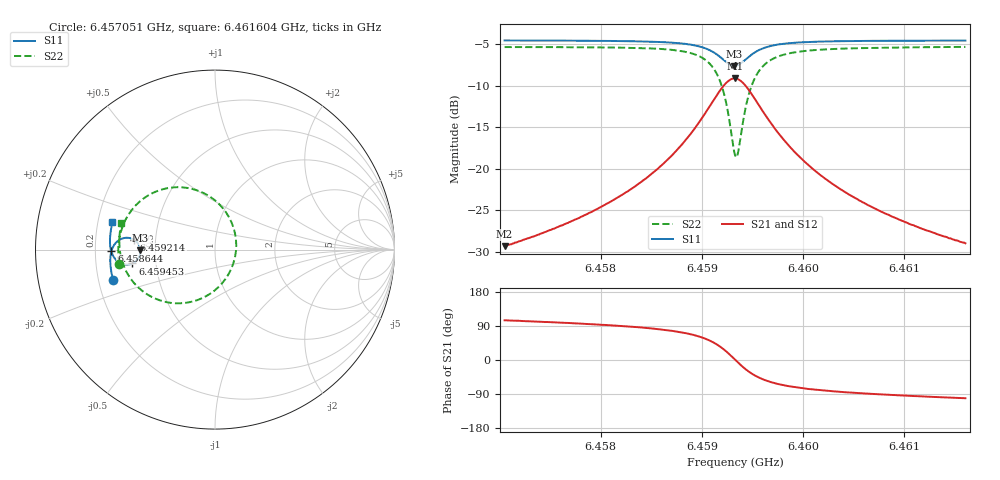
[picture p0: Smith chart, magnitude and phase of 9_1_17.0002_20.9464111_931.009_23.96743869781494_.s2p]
#  HZ  S  RI  R  50.00
! Rohde & Schwarz Vector Network Analyzer
! Rohde-Schwarz,ZNB20-2Port,1311601062101988,3.16
! Created: UTC 3/20/2024, 10:52:24 PM
! freq[Hz]  re:S11  im:S11  re:S21  im:S21  re:S12  im:S12  re:S22  im:S22
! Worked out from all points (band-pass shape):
!   401 points, 6.457051 GHz to 6.461604 GHz, reference 50 ohm
!   highest |S21| = -9.13 dB at 6.459327 GHz (marker M1); lowest = -29.4 dB at 6.457051 GHz (marker M2)
!   |S21| within 3 dB of the highest: 6.459096 GHz to 6.459551 GHz (455 kHz wide, 0.00704 % of centre)
!   lowest |S11| = -7.6 dB at 6.459316 GHz (marker M3), VSWR 2.42, Z = 20.6 - j0.175 ohm
!   |S11| at or under -10 dB: nowhere
!   |S22| runs from -18.6 to -5.3 dB; largest |S21 - S12| = 0.014
!   S11 on the Smith chart (normalised r, x): 6.457051 GHz: 0.26, -0.14; 6.458644 GHz: 0.27, -0.01; 6.459214 GHz: 0.38, +0.05; 6.459453 GHz: 0.37, -0.07; 6.461604 GHz: 0.26, +0.12
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6.4570508e9  -0.5674 -0.1681  -0.00864 0.033  -0.00701 0.0329  -0.5344 -0.0777
6.4578135e9  -0.5809 -0.1011  -0.00525 0.0512  -0.00277 0.0506  -0.5386 0.0124
6.4582461e9  -0.5835 -0.0573  0.00137 0.0717  0.00464 0.0702  -0.529 0.0821
6.4585762e9  -0.5793 -0.0174  0.0154 0.1002  0.0194 0.0973  -0.5027 0.158
6.4586445e9  -0.577 -0.00788  0.0209 0.1087  0.0249 0.1054  -0.4921 0.1782
6.458838e9  -0.5639 0.0227  0.0483 0.1399  0.0525 0.135  -0.4406 0.2478
6.4589859e9  -0.5404 0.049  0.0952 0.1706  0.0984 0.1639  -0.3539 0.3119
6.4591225e9  -0.4951 0.0658  0.1851 0.1858  0.1862 0.1784  -0.1894 0.3474
6.4592136e9  -0.4497 0.0539  0.2763 0.1512  0.277 0.1451  -0.0203 0.2897
6.4592705e9  -0.4246 0.0272  0.328 0.0912  0.3303 0.0855  0.0777 0.1812
6.4593161e9  -0.4156 -0.00351  0.3485 0.0241  0.3522 0.0167  0.1168 0.0559
6.4593274e9  -0.4155 -0.0118  0.3495 0.00621  0.3533 -0.00178  0.1185 0.0221
6.4593616e9  -0.4203 -0.0355  0.3416 -0.0466  0.3453 -0.0567  0.1019 -0.0776
6.4594071e9  -0.4371 -0.0613  0.3107 -0.1056  0.3123 -0.1182  0.039 -0.1883
6.4594526e9  -0.4597 -0.0769  0.2673 -0.145  0.2657 -0.1589  -0.049 -0.2592
6.4595437e9  -0.5032 -0.0827  0.182 -0.1737  0.1753 -0.1852  -0.2183 -0.2991
6.4596917e9  -0.5468 -0.0618  0.0948 -0.1582  0.086 -0.1642  -0.3832 -0.2458
6.459851e9  -0.5682 -0.0341  0.0505 -0.1298  0.0427 -0.1323  -0.4619 -0.1726
6.4600901e9  -0.5808 0.00154  0.0217 -0.0979  0.0159 -0.0984  -0.5087 -0.09
6.4604316e9  -0.5852 0.0424  0.00584 -0.0709  0.00173 -0.0704  -0.5291 -0.0108
6.4608527e9  -0.5831 0.0848  -0.0018 -0.0523  -0.0046 -0.0514  -0.5331 0.0571
6.461604e9  -0.5711 0.1513  -0.0067 -0.0348  -0.00836 -0.0339  -0.5213 0.1463
